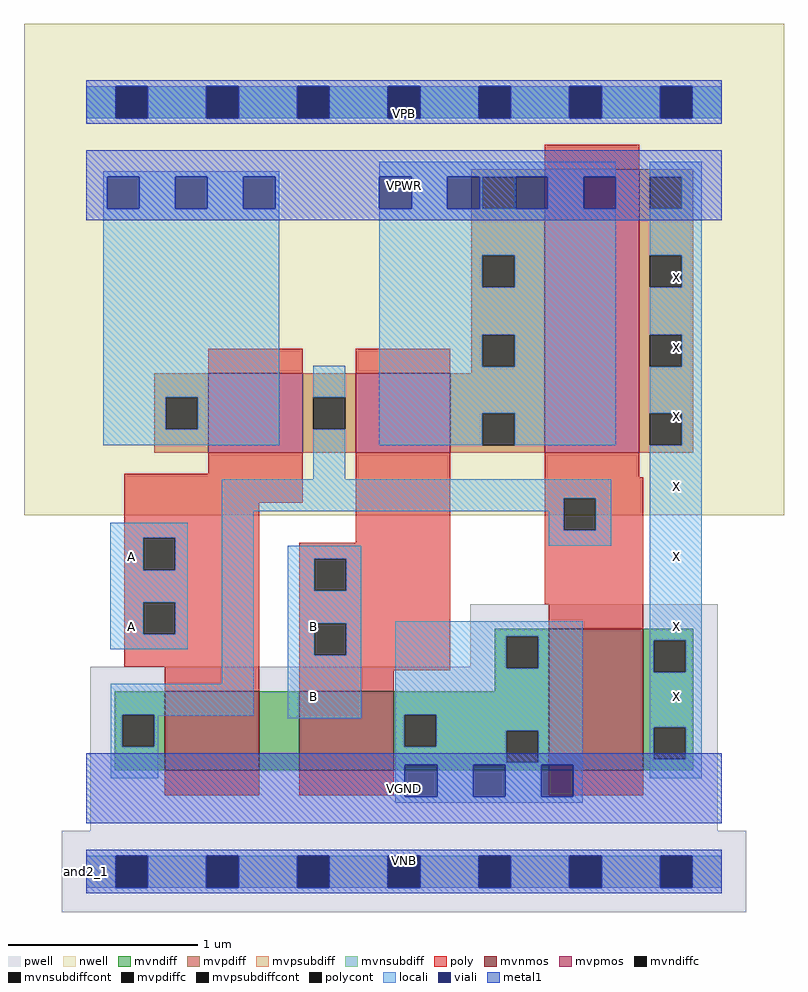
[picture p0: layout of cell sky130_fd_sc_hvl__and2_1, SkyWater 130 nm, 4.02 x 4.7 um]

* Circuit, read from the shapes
.subckt sky130_fd_sc_hvl__and2_1 A B VGND VNB VPB VPWR X
XM1 n1 A n2 VNB sky130_fd_pr__nfet_g5v0d10v5 w=0.42 l=0.5
XM2 VGND B n1 VNB sky130_fd_pr__nfet_g5v0d10v5 w=0.42 l=0.5
XM3 X n2 VGND VNB sky130_fd_pr__nfet_g5v0d10v5 w=0.75 l=0.5
XM4 n2 A VPWR VPB sky130_fd_pr__pfet_g5v0d10v5 w=0.42 l=0.5
XM5 VPWR B n2 VPB sky130_fd_pr__pfet_g5v0d10v5 w=0.42 l=0.5
XM6 X n2 VPWR VPB sky130_fd_pr__pfet_g5v0d10v5 w=1.5 l=0.5
.ends

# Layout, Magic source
magic
tech sky130A
magscale 1 2
<< nwell >>
rect -66 377 738 897
<< pwell >>
rect 406 217 668 283
rect 4 43 668 217
rect -26 -43 698 43
<< mvnmos >>
rect 83 107 183 191
rect 225 107 325 191
rect 489 107 589 257
<< mvpmos >>
rect 129 443 229 527
rect 285 443 385 527
rect 485 443 585 743
<< mvndiff >>
rect 432 249 489 257
rect 432 215 444 249
rect 478 215 489 249
rect 432 191 489 215
rect 30 166 83 191
rect 30 132 38 166
rect 72 132 83 166
rect 30 107 83 132
rect 183 107 225 191
rect 325 166 489 191
rect 325 132 336 166
rect 370 149 489 166
rect 370 132 444 149
rect 325 115 444 132
rect 478 115 489 149
rect 325 107 489 115
rect 589 245 642 257
rect 589 211 600 245
rect 634 211 642 245
rect 589 153 642 211
rect 589 119 600 153
rect 634 119 642 153
rect 589 107 642 119
<< mvpdiff >>
rect 407 735 485 743
rect 407 701 419 735
rect 453 701 485 735
rect 407 652 485 701
rect 407 618 419 652
rect 453 618 485 652
rect 407 568 485 618
rect 407 534 419 568
rect 453 534 485 568
rect 407 527 485 534
rect 72 502 129 527
rect 72 468 84 502
rect 118 468 129 502
rect 72 443 129 468
rect 229 502 285 527
rect 229 468 240 502
rect 274 468 285 502
rect 229 443 285 468
rect 385 485 485 527
rect 385 451 419 485
rect 453 451 485 485
rect 385 443 485 451
rect 585 735 642 743
rect 585 701 596 735
rect 630 701 642 735
rect 585 652 642 701
rect 585 618 596 652
rect 630 618 642 652
rect 585 568 642 618
rect 585 534 596 568
rect 630 534 642 568
rect 585 485 642 534
rect 585 451 596 485
rect 630 451 642 485
rect 585 443 642 451
<< mvndiffc >>
rect 444 215 478 249
rect 38 132 72 166
rect 336 132 370 166
rect 444 115 478 149
rect 600 211 634 245
rect 600 119 634 153
<< mvpdiffc >>
rect 419 701 453 735
rect 419 618 453 652
rect 419 534 453 568
rect 84 468 118 502
rect 240 468 274 502
rect 419 451 453 485
rect 596 701 630 735
rect 596 618 630 652
rect 596 534 630 568
rect 596 451 630 485
<< mvpsubdiff >>
rect 0 -17 31 17
rect 65 -17 127 17
rect 161 -17 223 17
rect 257 -17 319 17
rect 353 -17 415 17
rect 449 -17 511 17
rect 545 -17 607 17
rect 641 -17 672 17
<< mvnsubdiff >>
rect 0 797 31 831
rect 65 797 127 831
rect 161 797 223 831
rect 257 797 319 831
rect 353 797 415 831
rect 449 797 511 831
rect 545 797 607 831
rect 641 797 672 831
<< mvpsubdiffcont >>
rect 31 -17 65 17
rect 127 -17 161 17
rect 223 -17 257 17
rect 319 -17 353 17
rect 415 -17 449 17
rect 511 -17 545 17
rect 607 -17 641 17
<< mvnsubdiffcont >>
rect 31 797 65 831
rect 127 797 161 831
rect 223 797 257 831
rect 319 797 353 831
rect 415 797 449 831
rect 511 797 545 831
rect 607 797 641 831
<< poly >>
rect 485 743 585 769
rect 129 527 229 553
rect 285 527 385 553
rect 129 421 229 443
rect 40 390 229 421
rect 40 353 183 390
rect 40 319 60 353
rect 94 319 183 353
rect 285 348 385 443
rect 40 285 183 319
rect 40 251 60 285
rect 94 251 183 285
rect 40 217 183 251
rect 83 191 183 217
rect 225 331 385 348
rect 225 297 241 331
rect 275 297 385 331
rect 225 263 385 297
rect 485 417 585 443
rect 485 395 589 417
rect 485 361 505 395
rect 539 361 589 395
rect 485 283 589 361
rect 225 229 241 263
rect 275 229 385 263
rect 489 257 589 283
rect 225 213 385 229
rect 225 191 325 213
rect 83 81 183 107
rect 225 81 325 107
rect 489 81 589 107
<< polycont >>
rect 60 319 94 353
rect 60 251 94 285
rect 241 297 275 331
rect 505 361 539 395
rect 241 229 275 263
<< locali >>
rect 0 797 31 831
rect 65 797 127 831
rect 161 797 223 831
rect 257 797 319 831
rect 353 797 415 831
rect 449 797 511 831
rect 545 797 607 831
rect 641 797 672 831
rect 18 735 204 741
rect 18 701 22 735
rect 56 701 94 735
rect 128 701 166 735
rect 200 701 204 735
rect 18 502 204 701
rect 310 735 560 751
rect 344 701 382 735
rect 416 701 419 735
rect 453 701 454 735
rect 488 701 526 735
rect 310 652 560 701
rect 310 618 419 652
rect 453 618 560 652
rect 310 568 560 618
rect 18 468 84 502
rect 118 468 204 502
rect 18 451 204 468
rect 240 502 274 535
rect 240 415 274 468
rect 310 534 419 568
rect 453 534 560 568
rect 310 485 560 534
rect 310 451 419 485
rect 453 451 560 485
rect 596 735 651 751
rect 630 701 651 735
rect 596 652 651 701
rect 630 618 651 652
rect 596 568 651 618
rect 630 534 651 568
rect 596 485 651 534
rect 630 451 651 485
rect 143 395 555 415
rect 143 381 505 395
rect 25 353 107 369
rect 25 319 60 353
rect 94 319 107 353
rect 25 285 107 319
rect 25 251 60 285
rect 94 251 107 285
rect 25 235 107 251
rect 143 199 177 381
rect 489 361 505 381
rect 539 361 555 395
rect 489 345 555 361
rect 26 166 177 199
rect 26 132 38 166
rect 72 165 177 166
rect 213 331 291 345
rect 213 297 241 331
rect 275 297 291 331
rect 213 263 291 297
rect 213 229 241 263
rect 275 229 291 263
rect 72 132 76 165
rect 213 162 291 229
rect 327 249 525 265
rect 327 215 444 249
rect 478 215 525 249
rect 327 166 525 215
rect 26 99 76 132
rect 327 132 336 166
rect 370 149 525 166
rect 370 132 444 149
rect 327 115 444 132
rect 478 115 525 149
rect 327 113 525 115
rect 327 79 337 113
rect 371 79 409 113
rect 443 79 481 113
rect 515 79 525 113
rect 596 245 651 451
rect 596 211 600 245
rect 634 211 651 245
rect 596 153 651 211
rect 596 119 600 153
rect 634 119 651 153
rect 596 99 651 119
rect 327 73 525 79
rect 0 -17 31 17
rect 65 -17 127 17
rect 161 -17 223 17
rect 257 -17 319 17
rect 353 -17 415 17
rect 449 -17 511 17
rect 545 -17 607 17
rect 641 -17 672 17
<< viali >>
rect 31 797 65 831
rect 127 797 161 831
rect 223 797 257 831
rect 319 797 353 831
rect 415 797 449 831
rect 511 797 545 831
rect 607 797 641 831
rect 22 701 56 735
rect 94 701 128 735
rect 166 701 200 735
rect 310 701 344 735
rect 382 701 416 735
rect 454 701 488 735
rect 526 701 560 735
rect 337 79 371 113
rect 409 79 443 113
rect 481 79 515 113
rect 31 -17 65 17
rect 127 -17 161 17
rect 223 -17 257 17
rect 319 -17 353 17
rect 415 -17 449 17
rect 511 -17 545 17
rect 607 -17 641 17
<< metal1 >>
rect 0 831 672 837
rect 0 797 31 831
rect 65 797 127 831
rect 161 797 223 831
rect 257 797 319 831
rect 353 797 415 831
rect 449 797 511 831
rect 545 797 607 831
rect 641 797 672 831
rect 0 791 672 797
rect 0 735 672 763
rect 0 701 22 735
rect 56 701 94 735
rect 128 701 166 735
rect 200 701 310 735
rect 344 701 382 735
rect 416 701 454 735
rect 488 701 526 735
rect 560 701 672 735
rect 0 689 672 701
rect 0 113 672 125
rect 0 79 337 113
rect 371 79 409 113
rect 443 79 481 113
rect 515 79 672 113
rect 0 51 672 79
rect 0 17 672 23
rect 0 -17 31 17
rect 65 -17 127 17
rect 161 -17 223 17
rect 257 -17 319 17
rect 353 -17 415 17
rect 449 -17 511 17
rect 545 -17 607 17
rect 641 -17 672 17
rect 0 -23 672 -17
<< labels >>
rlabel comment s 0 0 0 0 4 and2_1
flabel metal1 s 0 51 672 125 0 FreeSans 340 0 0 0 VGND
port 3 nsew ground bidirectional
flabel metal1 s 0 0 672 23 0 FreeSans 340 0 0 0 VNB
port 4 nsew ground bidirectional
flabel metal1 s 0 689 672 763 0 FreeSans 340 0 0 0 VPWR
port 6 nsew power bidirectional
flabel metal1 s 0 791 672 814 0 FreeSans 340 0 0 0 VPB
port 5 nsew power bidirectional
flabel locali s 31 242 65 276 0 FreeSans 340 0 0 0 A
port 1 nsew signal input
flabel locali s 31 316 65 350 0 FreeSans 340 0 0 0 A
port 1 nsew signal input
flabel locali s 223 168 257 202 0 FreeSans 340 0 0 0 B
port 2 nsew signal input
flabel locali s 223 242 257 276 0 FreeSans 340 0 0 0 B
port 2 nsew signal input
flabel locali s 607 168 641 202 0 FreeSans 340 0 0 0 X
port 7 nsew signal output
flabel locali s 607 242 641 276 0 FreeSans 340 0 0 0 X
port 7 nsew signal output
flabel locali s 607 316 641 350 0 FreeSans 340 0 0 0 X
port 7 nsew signal output
flabel locali s 607 390 641 424 0 FreeSans 340 0 0 0 X
port 7 nsew signal output
flabel locali s 607 464 641 498 0 FreeSans 340 0 0 0 X
port 7 nsew signal output
flabel locali s 607 538 641 572 0 FreeSans 340 0 0 0 X
port 7 nsew signal output
flabel locali s 607 612 641 646 0 FreeSans 340 0 0 0 X
port 7 nsew signal output
<< properties >>
string FIXED_BBOX 0 0 672 814
string GDS_END 803404
string GDS_FILE $PDKPATH/libs.ref/sky130_fd_sc_hvl/gds/sky130_fd_sc_hvl.gds
string GDS_START 794438
string LEFclass CORE
string LEFsite unithv
string LEFsymmetry X Y
<< end >>
